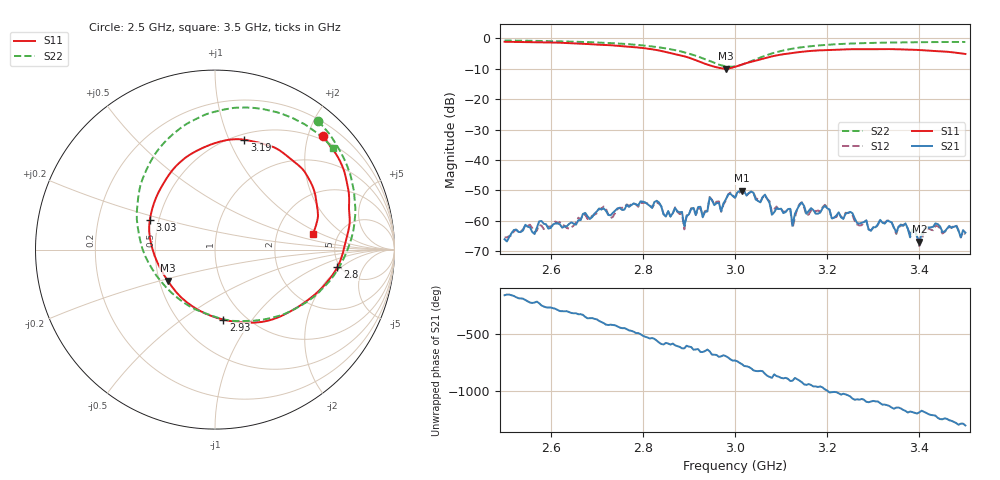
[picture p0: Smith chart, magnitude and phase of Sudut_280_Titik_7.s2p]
# Hz S RI R 50
! CMT, C1220, 16058040, 17.2.0/1
! Date: 15/08/2018 10:10:51
! Data: Format (Calibration Info)
! Freq  S11: Re/Im (F2)  S21: Re/Im (F2)  S12: Re/Im (F2)  S22: Re/Im (F2)
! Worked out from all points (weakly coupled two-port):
!   201 points, 2.5 GHz to 3.5 GHz, reference 50 ohm
!   highest |S21| = -50.11 dB at 3.015 GHz (marker M1); lowest = -66.8 dB at 3.4 GHz (marker M2)
!   lowest |S11| = -10.0 dB at 2.98 GHz (marker M3), VSWR 1.92, Z = 27.7 - j10.7 ohm
!   |S11| at or under -10 dB: 2.976219 GHz to 2.981973 GHz (5.754 MHz wide, 0.193 % of centre)
!   |S22| runs from -9.4 to -0.7 dB; largest |S21 - S12| = 0.00026
!   S11 on the Smith chart (normalised r, x): 2.5 GHz: 0.42, +2.25; 2.8 GHz: 4.77, -1.75; 2.93 GHz: 0.80, -0.73; 3.03 GHz: 0.45, +0.18; 3.19 GHz: 0.56, +1.14; 3.5 GHz: 3.24, +0.78
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2.5e9  0.5994 0.635  -0.00047 -0.000168  -0.00051 -0.000155  0.5734 0.7162
2.67e9  0.7455 0.3176  0.00115 0.000609  0.00114 0.000476  0.7448 0.4441
2.8e9  0.6824 -0.0964  -0.00187 -0.000881  -0.00176 -0.000877  0.7586 0.0583
2.835e9  0.5886 -0.2208  -0.00168 0.00111  -0.00166 0.000954  0.7027 -0.0779
2.89e9  0.3203 -0.3891  -6.69e-05 0.000817  -0.000116 0.000715  0.5066 -0.2946
2.905e9  0.2239 -0.4065  -0.000436 0.00152  -0.000478 0.00155  0.4226 -0.3425
2.93e9  0.0461 -0.3901  0.000523 0.00102  0.000466 0.00112  0.2546 -0.392
2.945e9  -0.0598 -0.3534  0.000881 0.00224  0.000856 0.00232  0.14 -0.3985
2.98e9  -0.2634 -0.1733  0.002 0.00102  0.00191 0.000993  -0.1364 -0.3192
3e9  -0.3363 -0.0349  0.00235 -0.000469  0.00232 -0.000577  -0.2721 -0.2104
3.015e9  -0.3632 0.0678  0.00228 -0.00213  0.00235 -0.00196  -0.3505 -0.1071
3.03e9  -0.3629 0.1675  0.00108 -0.00267  0.00115 -0.0026  -0.4055 0.00807
3.12e9  -0.0845 0.5591  -0.00155 0.000305  -0.00148 0.000354  -0.2773 0.602
3.125e9  -0.0643 0.5686  -0.000836 0.000111  -0.000751 0.000148  -0.2569 0.6221
3.14e9  -0.00551 0.5917  -0.00181 0.000223  -0.00187 0.000188  -0.1967 0.6733
3.17e9  0.099 0.6142  -0.000792 0.00128  -0.000939 0.00122  -0.0763 0.7421
3.19e9  0.1632 0.6124  -0.000638 0.00148  -0.00059 0.00156  -0.0014 0.7681
3.295e9  0.4268 0.5008  0.000674 -0.000126  0.000693 -9.06e-05  0.319 0.7722
3.335e9  0.4939 0.4409  0.000635 -0.000752  0.00062 -0.000814  0.4083 0.7428
3.4e9  0.5561 0.3153  -0.000121 -0.000441  -0.000174 -0.000342  0.5255 0.6801
3.435e9  0.5702 0.2299  -0.000627 -0.000656  -0.000593 -0.000576  0.5784 0.6409
3.5e9  0.5436 0.0843  -0.000493 0.00041  -0.000444 0.000406  0.6574 0.5643
